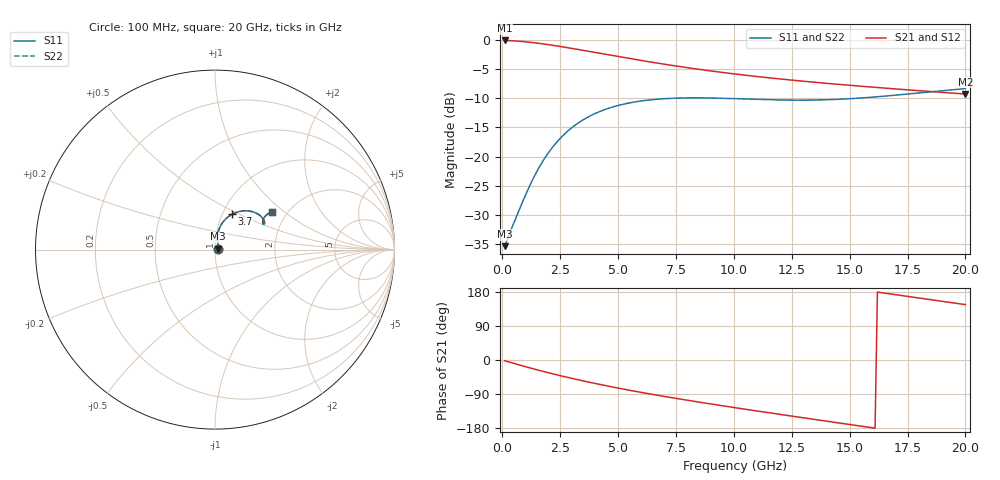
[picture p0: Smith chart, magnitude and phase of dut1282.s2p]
! Touchstone file exported from HFSS 2024.1.0
!  File:  C:/UserFiles/LocalFiles/RDL_TSV_Batchsim/temp_RDL_TSV_1282_1780277620.aedt
!  Generated:  09:46:23 AM Jun  1, 2026
!  Design:  RDL_TSV
!  Project:  temp_RDL_TSV_1282_1780277620
!  Setup:  Setup1
!  Solution:  Sweep
! Variables:
!  dtsv = 10.52um
!  hbump = 3um
!  htsv = 59.83um
!  ldown = 294.77um
!  lrdl = 585.59um
!  p = 40
!  p1 = 46.89um
!  rhole = 10um
!  subl = 3226.67um
!  t = 450um
!  tdown = 3.16um
!  trdl = 4.92um
!  viad = 10um
!  wdown = 28.72um
!  wrdl = 13.39um
!  xbump = 18um
# GHz S MA R 50.000000
! Terminal data exported
! Port[1] = TM1_1_T1
! Port[2] = TM1_4_T1
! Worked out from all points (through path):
!   200 points, 100 MHz to 20 GHz, reference 50 ohm
!   highest |S21| = -0.15 dB at 100 MHz (marker M1); lowest = -9.3 dB at 20 GHz (marker M2)
!   group delay of S21, straight-line fit = 28.1 ps
!   lowest |S11| = -35.3 dB at 100 MHz (marker M3), VSWR 1.04, Z = 51.7 + j0.489 ohm
!   |S11| at or under -10 dB: start of sweep to 7.535 GHz; 9.24 GHz to 15.41 GHz (6.172 GHz wide, 50.1 % of centre)
!   |S22| runs from -35.3 to -8.4 dB; largest |S21 - S12| = 9.5e-15
!   S11 on the Smith chart (normalised r, x): 100 MHz: 1.03, +0.01; 3.7 GHz: 1.11, +0.46; 20 GHz: 1.68, +0.83
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0.1  0.0172 15.9  0.9831 -1.8  0.9831 -1.8  0.0172 15.9
! Gamma 0 0 0 0
! Port Impedance 50 0 50 0
0.6  0.0304 57.1  0.9726 -10.7  0.9726 -10.7  0.0304 57.1
1.1  0.05197 74.6  0.9538 -19.3  0.9538 -19.3  0.05198 74.6
1.4  0.06903 78.7  0.9391 -24.2  0.9391 -24.2  0.06905 78.7
1.8  0.09491 79.8  0.9168 -30.7  0.9168 -30.7  0.09495 79.8
2.2  0.1225 78.2  0.8924 -36.8  0.8924 -36.8  0.1226 78.2
2.6  0.1501 75.1  0.867 -42.7  0.867 -42.7  0.1502 75.1
3  0.1766 71.3  0.841 -48.4  0.841 -48.4  0.1767 71.4
3.5  0.2069 66.3  0.8087 -55.3  0.8087 -55.3  0.207 66.3
3.7  0.2179 64.3  0.7959 -57.9  0.7959 -57.9  0.2181 64.3
4.4  0.2514 57.5  0.7524 -66.8  0.7524 -66.8  0.2516 57.5
5.1  0.2769 51.3  0.7114 -75.3  0.7114 -75.3  0.2771 51.3
5.9  0.2972 45.1  0.6683 -84.4  0.6683 -84.4  0.2974 45.1
6.8  0.3108 39.3  0.6249 -94.1  0.6249 -94.1  0.311 39.4
8.4  0.3179 32.0  0.5604 -110.2  0.5604 -110.2  0.3181 32.0
10.1  0.3127 28.0  0.507 -126.3  0.507 -126.3  0.313 28.0
11.7  0.3058 27.3  0.4674 -140.9  0.4674 -140.9  0.3061 27.3
13.4  0.3044 28.9  0.4336 -156.1  0.4336 -156.1  0.3046 28.9
15  0.3125 31.3  0.407 -170.3  0.407 -170.3  0.3127 31.3
16.7  0.3313 33.4  0.3826 174.8  0.3826 174.8  0.3314 33.4
18.4  0.3565 34.1  0.3611 160.0  0.3611 160.0  0.3566 34.1
20  0.3815 33.5  0.343 146.2  0.343 146.2  0.3816 33.5
